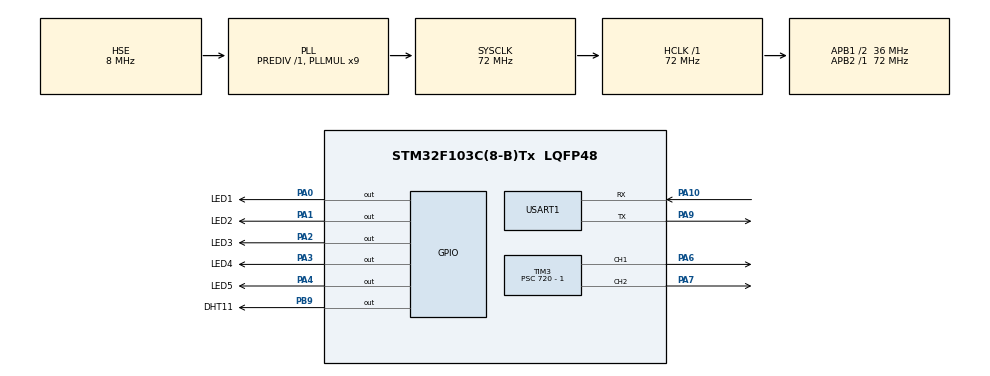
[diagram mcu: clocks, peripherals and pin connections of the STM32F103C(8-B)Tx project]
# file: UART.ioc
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Mcu.Family=STM32F1
Mcu.Name=STM32F103C(8-B)Tx
Mcu.Package=LQFP48
NVIC.PriorityGroup=NVIC_PRIORITYGROUP_4
NVIC.TIM1_UP_IRQn=true\:0\:0\:false\:false\:true\:true\:true\:true
NVIC.TIM2_IRQn=true\:0\:0\:false\:false\:true\:true\:true\:true
NVIC.TIM3_IRQn=true\:0\:0\:false\:false\:true\:true\:true\:true
NVIC.USART1_IRQn=true\:0\:0\:false\:false\:true\:true\:true\:true
PA0-WKUP.GPIO_Label=LED1
PA0-WKUP.Signal=GPIO_Output
PA1.GPIO_Label=LED2
PA1.Signal=GPIO_Output
PA10.Mode=Asynchronous
PA10.Signal=USART1_RX
PA13.Mode=Serial_Wire
PA13.Signal=SYS_JTMS-SWDIO
PA14.Mode=Serial_Wire
PA14.Signal=SYS_JTCK-SWCLK
PA2.GPIO_Label=LED3
PA2.Signal=GPIO_Output
PA3.GPIO_Label=LED4
PA3.Signal=GPIO_Output
PA4.GPIO_Label=LED5
PA4.Signal=GPIO_Output
PA6.Signal=S_TIM3_CH1
PA7.Signal=S_TIM3_CH2
PA9.Mode=Asynchronous
PA9.Signal=USART1_TX
PB9.GPIO_Label=DHT11
PB9.Signal=GPIO_Output
PD0-OSC_IN.Mode=HSE-External-Oscillator
PD0-OSC_IN.Signal=RCC_OSC_IN
PD1-OSC_OUT.Mode=HSE-External-Oscillator
PD1-OSC_OUT.Signal=RCC_OSC_OUT
ProjectManager.HeapSize=0x200
ProjectManager.StackSize=0x400
ProjectManager.TargetToolchain=STM32CubeIDE
RCC.ADCPresc=RCC_ADCPCLK2_DIV8
RCC.AHBFreq_Value=72000000
RCC.APB1CLKDivider=RCC_HCLK_DIV2
RCC.APB1Freq_Value=36000000
RCC.APB1TimFreq_Value=72000000
RCC.APB2Freq_Value=72000000
RCC.APB2TimFreq_Value=72000000
RCC.HCLKFreq_Value=72000000
RCC.PLLMUL=RCC_PLL_MUL9
RCC.PLLSourceVirtual=RCC_PLLSOURCE_HSE
RCC.SYSCLKFreq_VALUE=72000000
RCC.SYSCLKSource=RCC_SYSCLKSOURCE_PLLCLK
RCC.USBFreq_Value=72000000
SH.S_TIM3_CH1.0=TIM3_CH1,Output Compare1 CH1
SH.S_TIM3_CH2.0=TIM3_CH2,PWM Generation2 CH2
TIM1.Period=65535
TIM1.Prescaler=60000-1
TIM2.Period=65535
TIM2.Prescaler=72 - 1
TIM3.Channel-Output\ Compare1\ CH1=TIM_CHANNEL_1
TIM3.Channel-PWM\ Generation2\ CH2=TIM_CHANNEL_2
TIM3.OCMode_1=TIM_OCMODE_TOGGLE
TIM3.Period=10000 - 1
TIM3.Prescaler=720 - 1
USART1.VirtualMode=VM_ASYNC
VP_TIM1_VS_ClockSourceINT.Mode=Internal
VP_TIM2_VS_ClockSourceINT.Mode=Internal
VP_TIM3_VS_ClockSourceINT.Mode=Internal
board=custom

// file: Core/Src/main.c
/* USER CODE BEGIN Header */
/**
  ******************************************************************************
  * @file           : main.c
  * @brief          : Main program body
  ******************************************************************************
  * @attention
  *
  * Copyright (c) 2024 STMicroelectronics.
  * All rights reserved.
  *
  * This software is licensed under terms that can be found in the LICENSE file
  * in the root directory of this software component.
  * If no LICENSE file comes with this software, it is provided AS-IS.
  *
  ******************************************************************************
  */
/* USER CODE END Header */
#include "main.h"

/* USER CODE BEGIN Includes */
#include "stdio.h"
#include "stdlib.h"
#include "string.h"
#include "stdbool.h"
/* USER CODE END Includes */

/* USER CODE BEGIN PD */
#define DHT11_PORT GPIOB
#define DHT11_PIN  GPIO_PIN_9
#define LED_PORT   GPIOA
#define NUMBER_OF_LED 5
#define WAITING_20S 24000
#define WAITING_10S 12000
/* USER CODE END PD */

TIM_HandleTypeDef htim1;
TIM_HandleTypeDef htim2;
TIM_HandleTypeDef htim3;

UART_HandleTypeDef huart1;

/* USER CODE BEGIN PV */
int 					counter 					= 0;
int 					choice 						= 0;
int 					prev_choice 				= -1;
uint8_t 				counter_from_x[5]; // 0 --> 10,000
uint8_t 				duty_cycle;
uint8_t 				duty_cycle_num[20];
uint8_t 				msg1[1];
uint8_t 				nhap_lai[]					= "\nType again :"					;
uint8_t 				blinking_mode[40] 			= "\nBlinking Mode\nNhap counter : ";
uint8_t 				modulation_mode[20] 		= "\nModulation Mode"				;
uint8_t 				stop_modulation_mode[42]	= "\nStop Modulation Mode"			;
uint8_t 				stop_blinking_mode[42]  	= "\nStop Blinking Mode"			;
uint8_t 				be_on_operation[42]    		= "\nSelected Mode Is On Operation" ;
uint8_t 				no_mode_on_operation[42]	= "\nNo mode on operation"			;

// ##### AN's global vars #####
const uint8_t  			on_led_mode[]      		 	= "On led mode\n"					;
const uint8_t  			off_led_mode[]    		 	= "Off led mode\n"					;
uint8_t  				waiting_20s_mode[]      	= "Waiting 20s mode\n"				;
uint8_t  				waiting_10s_mode[]       	= "Waiting 10s mode\n"				;
uint8_t  				stop_waiting_mode[]      	= "Stop waiting mode\n"				;
uint8_t  				read_sensor_mode[]       	= "Read sensor mode\n"				;
uint8_t 				interrupt_the_mode[100]  	= "Stop running current mode\n"		;
uint8_t  				logg[200]                	= "\n1. On/off mode\n2. Waiting 10s mode\n3. Waiting 20s mode\
													   \n4. Reading sensor mode\n5. Blinking Mode\n6. Modulation Mode\n9. Stop";
///
uint32_t 				waiting;
uint32_t 				previous_tim           		= 0									;
uint32_t 				current_tim             	= 0									;
uint8_t 				led[5]                   	= {LED1_Pin,LED2_Pin,LED3_Pin,LED4_Pin,LED5_Pin};

// mode flag
bool 					modulation_flag				;
bool 					blinking_flag				;
bool 					choice_flag = true			;
bool 					stop_flag;

// ##### AN's mode flag #####
bool    				stop_flag					;
bool    				on_led_flag					;
bool    				waiting_flag				;

//sensor
uint8_t  				RHI, RHD, TCI, TCD, SUM;
uint32_t 				pMillis, cMillis;
float    				tCelsius                	= 0;
float    				tFahrenheit             	= 0;
float    				RH                      	= 0;
uint8_t  				TFI                     	= 0;
uint8_t  				TFD                     	= 0;
char     				strCopy[15];

/* USER CODE END PV */

void SystemClock_Config(void);
static void MX_GPIO_Init(void);
static void MX_USART1_UART_Init(void);
static void MX_TIM1_Init(void);
static void MX_TIM2_Init(void);
static void MX_TIM3_Init(void);
/* USER CODE BEGIN PFP */

int  				a2i(uint8_t*);
void 				StartModulationMode();
void 				StopModulationMode();
void 				StartBlinkingMode();
void 				StopBlinkingMode();
void 				ChooseModeHandler(); // choose mode while another mode's on operation
void 				ChooseMode(); // choose mode when no modes on operation (initially)
void 				ChangeMode();
void 				StopMode();

// ##### AN's function initialization #####
void 				microDelay (uint16_t);
uint8_t 			dht11Start ();
uint8_t 			dht11Read ();
void 				readRH();
void 				readTemp();
void 				waitingModeSet(uint32_t);
void 				stopWaitingMode();
void 				onLed();
void 				offLed();
void 				dht11Calculate();

/* USER CODE END PFP */

int main(void)
{

  /* MCU Configuration--------------------------------------------------------*/

  /* Reset of all peripherals, Initializes the Flash interface and the Systick. */
  HAL_Init();

  /* Configure the system clock */
  SystemClock_Config();

  /* Initialize all configured peripherals */
  MX_GPIO_Init();
  MX_USART1_UART_Init();
  MX_TIM1_Init();
  MX_TIM2_Init();
  MX_TIM3_Init();
  /* USER CODE BEGIN 2 */
  HAL_TIM_Base_Start(&htim2);
  HAL_TIM_Base_Start_IT(&htim1);
  /* USER CODE END 2 */

  /* Infinite loop */
  /* USER CODE BEGIN WHILE */
	while (1) {
		if(prev_choice != choice)
		{
			prev_choice = choice;
			if(modulation_flag || blinking_flag || waiting_flag || on_led_flag) ChooseModeHandler();
			else ChooseMode();
		}
		else
		{
			HAL_UART_Receive_IT(&huart1, msg1, sizeof(msg1));
		}

    /* USER CODE END WHILE */

	}
}

void SystemClock_Config(void)
{
  RCC_OscInitTypeDef RCC_OscInitStruct = {0};
  RCC_ClkInitTypeDef RCC_ClkInitStruct = {0};

  /** Initializes the RCC Oscillators according to the specified parameters
  * in the RCC_OscInitTypeDef structure.
  */
  RCC_OscInitStruct.OscillatorType = RCC_OSCILLATORTYPE_HSE;
  RCC_OscInitStruct.HSEState = RCC_HSE_ON;
  RCC_OscInitStruct.HSEPredivValue = RCC_HSE_PREDIV_DIV1;
  RCC_OscInitStruct.HSIState = RCC_HSI_ON;
  RCC_OscInitStruct.PLL.PLLState = RCC_PLL_ON;
  RCC_OscInitStruct.PLL.PLLSource = RCC_PLLSOURCE_HSE;
  RCC_OscInitStruct.PLL.PLLMUL = RCC_PLL_MUL9;
  if (HAL_RCC_OscConfig(&RCC_OscInitStruct) != HAL_OK)
  {
    Error_Handler();
  }

  /** Initializes the CPU, AHB and APB buses clocks
  */
  RCC_ClkInitStruct.ClockType = RCC_CLOCKTYPE_HCLK|RCC_CLOCKTYPE_SYSCLK
                              |RCC_CLOCKTYPE_PCLK1|RCC_CLOCKTYPE_PCLK2;
  RCC_ClkInitStruct.SYSCLKSource = RCC_SYSCLKSOURCE_PLLCLK;
  RCC_ClkInitStruct.AHBCLKDivider = RCC_SYSCLK_DIV1;
  RCC_ClkInitStruct.APB1CLKDivider = RCC_HCLK_DIV2;
  RCC_ClkInitStruct.APB2CLKDivider = RCC_HCLK_DIV1;

  if (HAL_RCC_ClockConfig(&RCC_ClkInitStruct, FLASH_LATENCY_2) != HAL_OK)
  {
    Error_Handler();
  }
}

static void MX_TIM1_Init(void)
{

  TIM_ClockConfigTypeDef sClockSourceConfig = {0};
  TIM_MasterConfigTypeDef sMasterConfig = {0};

  htim1.Instance = TIM1;
  htim1.Init.Prescaler = 60000-1;
  htim1.Init.CounterMode = TIM_COUNTERMODE_UP;
  htim1.Init.Period = 65535;
  htim1.Init.ClockDivision = TIM_CLOCKDIVISION_DIV1;
  htim1.Init.RepetitionCounter = 0;
  htim1.Init.AutoReloadPreload = TIM_AUTORELOAD_PRELOAD_DISABLE;
  if (HAL_TIM_Base_Init(&htim1) != HAL_OK)
  {
    Error_Handler();
  }
  sClockSourceConfig.ClockSource = TIM_CLOCKSOURCE_INTERNAL;
  if (HAL_TIM_ConfigClockSource(&htim1, &sClockSourceConfig) != HAL_OK)
  {
    Error_Handler();
  }
  sMasterConfig.MasterOutputTrigger = TIM_TRGO_RESET;
  sMasterConfig.MasterSlaveMode = TIM_MASTERSLAVEMODE_DISABLE;
  if (HAL_TIMEx_MasterConfigSynchronization(&htim1, &sMasterConfig) != HAL_OK)
  {
    Error_Handler();
  }

}

static void MX_TIM2_Init(void)
{

  TIM_ClockConfigTypeDef sClockSourceConfig = {0};
  TIM_MasterConfigTypeDef sMasterConfig = {0};

  htim2.Instance = TIM2;
  htim2.Init.Prescaler = 72 - 1;
  htim2.Init.CounterMode = TIM_COUNTERMODE_UP;
  htim2.Init.Period = 65535;
  htim2.Init.ClockDivision = TIM_CLOCKDIVISION_DIV1;
  htim2.Init.AutoReloadPreload = TIM_AUTORELOAD_PRELOAD_DISABLE;
  if (HAL_TIM_Base_Init(&htim2) != HAL_OK)
  {
    Error_Handler();
  }
  sClockSourceConfig.ClockSource = TIM_CLOCKSOURCE_INTERNAL;
  if (HAL_TIM_ConfigClockSource(&htim2, &sClockSourceConfig) != HAL_OK)
  {
    Error_Handler();
  }
  sMasterConfig.MasterOutputTrigger = TIM_TRGO_RESET;
  sMasterConfig.MasterSlaveMode = TIM_MASTERSLAVEMODE_DISABLE;
  if (HAL_TIMEx_MasterConfigSynchronization(&htim2, &sMasterConfig) != HAL_OK)
  {
    Error_Handler();
  }

}

static void MX_TIM3_Init(void)
{

  TIM_ClockConfigTypeDef sClockSourceConfig = {0};
  TIM_MasterConfigTypeDef sMasterConfig = {0};
  TIM_OC_InitTypeDef sConfigOC = {0};

  htim3.Instance = TIM3;
  htim3.Init.Prescaler = 720 - 1;
  htim3.Init.CounterMode = TIM_COUNTERMODE_UP;
  htim3.Init.Period = 10000 - 1;
  htim3.Init.ClockDivision = TIM_CLOCKDIVISION_DIV1;
  htim3.Init.AutoReloadPreload = TIM_AUTORELOAD_PRELOAD_DISABLE;
  if (HAL_TIM_Base_Init(&htim3) != HAL_OK)
  {
    Error_Handler();
  }
  sClockSourceConfig.ClockSource = TIM_CLOCKSOURCE_INTERNAL;
  if (HAL_TIM_ConfigClockSource(&htim3, &sClockSourceConfig) != HAL_OK)
  {
    Error_Handler();
  }
  if (HAL_TIM_OC_Init(&htim3) != HAL_OK)
  {
    Error_Handler();
  }
  if (HAL_TIM_PWM_Init(&htim3) != HAL_OK)
  {
    Error_Handler();
  }
  sMasterConfig.MasterOutputTrigger = TIM_TRGO_RESET;
  sMasterConfig.MasterSlaveMode = TIM_MASTERSLAVEMODE_DISABLE;
  if (HAL_TIMEx_MasterConfigSynchronization(&htim3, &sMasterConfig) != HAL_OK)
  {
    Error_Handler();
  }
  sConfigOC.OCMode = TIM_OCMODE_TOGGLE;
  sConfigOC.Pulse = 0;
  sConfigOC.OCPolarity = TIM_OCPOLARITY_HIGH;
  sConfigOC.OCFastMode = TIM_OCFAST_DISABLE;
  if (HAL_TIM_OC_ConfigChannel(&htim3, &sConfigOC, TIM_CHANNEL_1) != HAL_OK)
  {
    Error_Handler();
  }
  sConfigOC.OCMode = TIM_OCMODE_PWM1;
  if (HAL_TIM_PWM_ConfigChannel(&htim3, &sConfigOC, TIM_CHANNEL_2) != HAL_OK)
  {
    Error_Handler();
  }
  HAL_TIM_MspPostInit(&htim3);

}

static void MX_USART1_UART_Init(void)
{

  huart1.Instance = USART1;
  huart1.Init.BaudRate = 115200;
  huart1.Init.WordLength = UART_WORDLENGTH_8B;
  huart1.Init.StopBits = UART_STOPBITS_1;
  huart1.Init.Parity = UART_PARITY_NONE;
  huart1.Init.Mode = UART_MODE_TX_RX;
  huart1.Init.HwFlowCtl = UART_HWCONTROL_NONE;
  huart1.Init.OverSampling = UART_OVERSAMPLING_16;
  if (HAL_UART_Init(&huart1) != HAL_OK)
  {
    Error_Handler();
  }

}

static void MX_GPIO_Init(void)
{
  GPIO_InitTypeDef GPIO_InitStruct = {0};

  /* GPIO Ports Clock Enable */
  __HAL_RCC_GPIOD_CLK_ENABLE();
  __HAL_RCC_GPIOA_CLK_ENABLE();
  __HAL_RCC_GPIOB_CLK_ENABLE();

  /*Configure GPIO pin Output Level */
  HAL_GPIO_WritePin(GPIOA, LED1_Pin|LED2_Pin|LED3_Pin|LED4_Pin
                          |LED5_Pin, GPIO_PIN_RESET);

  /*Configure GPIO pin Output Level */
  HAL_GPIO_WritePin(DHT11_GPIO_Port, DHT11_Pin, GPIO_PIN_RESET);

  /*Configure GPIO pins : LED1_Pin LED2_Pin LED3_Pin LED4_Pin
                           LED5_Pin */
  GPIO_InitStruct.Pin = LED1_Pin|LED2_Pin|LED3_Pin|LED4_Pin
                          |LED5_Pin;
  GPIO_InitStruct.Mode = GPIO_MODE_OUTPUT_PP;
  GPIO_InitStruct.Pull = GPIO_NOPULL;
  GPIO_InitStruct.Speed = GPIO_SPEED_FREQ_LOW;
  HAL_GPIO_Init(GPIOA, &GPIO_InitStruct);

  /*Configure GPIO pin : DHT11_Pin */
  GPIO_InitStruct.Pin = DHT11_Pin;
  GPIO_InitStruct.Mode = GPIO_MODE_OUTPUT_PP;
  GPIO_InitStruct.Pull = GPIO_NOPULL;
  GPIO_InitStruct.Speed = GPIO_SPEED_FREQ_LOW;
  HAL_GPIO_Init(DHT11_GPIO_Port, &GPIO_InitStruct);

}

/* USER CODE BEGIN 4 */

// function definition
void StartModulationMode()
{
//	if(blinking_flag) return;
	HAL_UART_Transmit(&huart1, modulation_mode, sizeof(modulation_mode),HAL_MAX_DELAY);
	modulation_flag = true;
	HAL_TIM_PWM_Start_IT(&htim3, TIM_CHANNEL_2);
	while (choice == 6 && modulation_flag)
	{
		HAL_UART_Receive_IT(&huart1, msg1, sizeof(msg1));
		for (uint32_t i = 0; i < 10001 && choice == 6; i = i + 100)
		{
			__HAL_TIM_SET_COMPARE(&htim3, TIM_CHANNEL_2, i);
			HAL_Delay(100);
		}
	}
}

void StopModulationMode()
{
	if(!modulation_flag) return;
	HAL_UART_Transmit(&huart1, stop_modulation_mode, sizeof(stop_modulation_mode), HAL_MAX_DELAY);
	HAL_TIM_PWM_Stop_IT(&htim3, TIM_CHANNEL_2);
	modulation_flag = false;
}

void StartBlinkingMode()
{
	if(modulation_flag) return;
	HAL_UART_Transmit(&huart1, blinking_mode, sizeof(blinking_mode), HAL_MAX_DELAY);
	HAL_UART_Receive(&huart1, counter_from_x, sizeof(counter_from_x), HAL_MAX_DELAY);
	counter = a2i(counter_from_x);
	if(counter >= 10000) counter = 10000;
	else if(counter <= 0) counter = 0;
	blinking_flag = true;
	HAL_TIM_OC_Start_IT(&htim3, TIM_CHANNEL_1);
	__HAL_TIM_SET_COUNTER(&htim2, counter);
}

void StopBlinkingMode()
{
	if(!blinking_flag) return;
	HAL_UART_Transmit_IT(&huart1, stop_blinking_mode, sizeof(stop_blinking_mode));
	counter = 0;
	blinking_flag = false;
	HAL_TIM_OC_Stop_IT(&htim3, TIM_CHANNEL_1);
}

int a2i(uint8_t* txt)
{
    int sum, digit, i;
    sum = 0;
    for (i = 0; i < strlen(txt); i++) {
//        digit = txt[i] - 0x30;
        sum = (sum * 10) + (txt[i] - '0');
    }
    return sum;
}

void ChooseModeHandler()
{
	if(choice == 9)
	{
		StopMode();
		HAL_UART_Transmit(&huart1, logg, sizeof(logg), HAL_MAX_DELAY);
		HAL_UART_Receive_IT(&huart1, msg1, sizeof(msg1));
	}

	else ChangeMode();
}

void ChooseMode()
{
	switch(choice)
	{
		case 0:
			HAL_UART_Transmit_IT(&huart1, logg, sizeof(logg));
			break;
		case 1:
			onLed();
			break;
		case 2:
			HAL_UART_Transmit_IT(&huart1, waiting_20s_mode, sizeof(waiting_20s_mode));
			waitingModeSet(WAITING_20S);
			break;
		case 3:
			HAL_UART_Transmit_IT(&huart1, waiting_10s_mode, sizeof(waiting_10s_mode));
			waitingModeSet(WAITING_10S);
			break;
		case 4:
			HAL_UART_Transmit_IT(&huart1, read_sensor_mode, sizeof(read_sensor_mode));
			HAL_Delay(200);
			readRH();
			HAL_Delay(200);
			readTemp();
			break;
		case 5:
			StartBlinkingMode();
			break;
		case 6:
			StartModulationMode();
			break;
		case 9:
			HAL_UART_Transmit_IT(&huart1, no_mode_on_operation, sizeof(no_mode_on_operation));
		default:
			HAL_UART_Transmit_IT(&huart1, nhap_lai, sizeof(nhap_lai));
			choice = 0;
			break;
	}
	HAL_UART_Receive_IT(&huart1, msg1, sizeof(msg1));
}

void ChangeMode()
{
	StopMode();
	HAL_Delay(200);
	ChooseMode();
}

void StopMode()
{
	if(modulation_flag) StopModulationMode();
	else if(blinking_flag) StopBlinkingMode();
	else if (waiting_flag) stopWaitingMode();
	else offLed();
}

// ##### AN's function definition #####
void microDelay (uint16_t delay)
{
  __HAL_TIM_SET_COUNTER(&htim2, 0);
  while (__HAL_TIM_GET_COUNTER(&htim2) < delay);
}

uint8_t dht11Start (void)
{
  uint8_t Response = 0;
  GPIO_InitTypeDef GPIO_InitStructPrivate = {0};
  GPIO_InitStructPrivate.Pin = DHT11_PIN;
  GPIO_InitStructPrivate.Mode = GPIO_MODE_OUTPUT_PP;
  GPIO_InitStructPrivate.Speed = GPIO_SPEED_FREQ_LOW;
  GPIO_InitStructPrivate.Pull = GPIO_NOPULL;
  HAL_GPIO_Init(DHT11_PORT, &GPIO_InitStructPrivate); // set the pin as output
  HAL_GPIO_WritePin (DHT11_PORT, DHT11_PIN, 0);   // pull the pin low
  HAL_Delay(20);   // wait for 20ms
  HAL_GPIO_WritePin (DHT11_PORT, DHT11_PIN, 1);   // pull the pin high
  microDelay (30);   // wait for 30us
  GPIO_InitStructPrivate.Mode = GPIO_MODE_INPUT;
  GPIO_InitStructPrivate.Pull = GPIO_PULLUP;
  HAL_GPIO_Init(DHT11_PORT, &GPIO_InitStructPrivate); // set the pin as input
  microDelay (40);
  if (!(HAL_GPIO_ReadPin (DHT11_PORT, DHT11_PIN)))
  {
    microDelay (80);
    if ((HAL_GPIO_ReadPin (DHT11_PORT, DHT11_PIN))) Response = 1;
  }
  pMillis = HAL_GetTick();
  cMillis = HAL_GetTick();
  while ((HAL_GPIO_ReadPin (DHT11_PORT, DHT11_PIN)) && pMillis + 2 > cMillis)
  {
    cMillis = HAL_GetTick();
  }
  return Response;
}

uint8_t dht11Read (void)
{
  uint8_t a,b;
  for (a=0;a<8;a++)
  {
    pMillis = HAL_GetTick();
    cMillis = HAL_GetTick();
    while (!(HAL_GPIO_ReadPin (DHT11_PORT, DHT11_PIN)) && pMillis + 2 > cMillis)
    {  // wait for the pin to go high
      cMillis = HAL_GetTick();
    }
    microDelay (40);   // wait for 40 us
    if (!(HAL_GPIO_ReadPin (DHT11_PORT, DHT11_PIN)))   // if the pin is low
      b&= ~(1<<(7-a));
    else
      b|= (1<<(7-a));
    pMillis = HAL_GetTick();
    cMillis = HAL_GetTick();
    while ((HAL_GPIO_ReadPin (DHT11_PORT, DHT11_PIN)) && pMillis + 2 > cMillis)
    {  // wait for the pin to go low
      cMillis = HAL_GetTick();
    }
  }
  return b;
}

void readRH(void)
{
	char cmd[30];
	sprintf(cmd,"Rh: %2.f",RH);
	HAL_UART_Transmit(&huart1,(uint8_t*)cmd,(uint8_t)strlen(cmd),100);
	uint8_t pct[]="%\n";
	HAL_UART_Transmit(&huart1,(uint8_t*)pct,(uint8_t)sizeof(pct),100);
}

void readTemp(void)
{
	char cmd[30];
	sprintf(cmd,"Temp: %2.f C",tCelsius);
	HAL_UART_Transmit(&huart1,(uint8_t*)cmd,(uint8_t)strlen(cmd),100);
}

void dht11Calculate(void)
{
	if (dht11Start())
	{
		RHI = dht11Read(); // Relative humidity integral
		RHD = dht11Read(); // Relative humidity decimal
		TCI = dht11Read(); // Celsius integral
		TCD = dht11Read(); // Celsius decimal
		SUM = dht11Read(); // Check sum
		if (RHI + RHD + TCI + TCD == SUM)
		{
			// Can use RHI and TCI for any purposes if whole number only needed
			tCelsius = (float) TCI + (float) (TCD / 10.0);
			tFahrenheit = tCelsius * 9 / 5 + 32;
			RH = (float) RHI + (float) (RHD / 10.0);
		}
	}
}

void onLed(void)
{
	HAL_UART_Transmit_IT(&huart1, on_led_mode, sizeof(on_led_mode));
	for (int i = 0; i < NUMBER_OF_LED; i++)
	{
		HAL_GPIO_WritePin(LED_PORT, led[i], 1);
	}
	on_led_flag = true;
}

void offLed(void)
{
	HAL_UART_Transmit_IT(&huart1, off_led_mode, sizeof(off_led_mode));
	for (int i = 0; i < NUMBER_OF_LED; i++)
	{
		HAL_GPIO_WritePin(LED_PORT, led[i], 0);
	}
	on_led_flag=false;
}

void stopWaitingMode(void)
{
	HAL_TIM_Base_Stop_IT(&htim1);
	if (__HAL_TIM_GET_COUNTER(&htim1))
	__HAL_TIM_SET_COUNTER(&htim1, 0);
	waiting_flag = false;
}

void waitingModeSet(uint32_t time)
{
	stopWaitingMode();
	current_tim = HAL_GetTick();
	waiting_flag= true;
	__HAL_TIM_SET_AUTORELOAD(&htim1, time - 1);
	HAL_TIM_Base_Start_IT(&htim1);
}

// Callback functions
void HAL_TIM_PWM_PulseFinishedCallback(TIM_HandleTypeDef *htim)
{
	if(htim->Instance == TIM3 && htim->Channel == HAL_TIM_ACTIVE_CHANNEL_2)
	{
		duty_cycle = __HAL_TIM_GET_COMPARE(&htim3, TIM_CHANNEL_2) * 0.01;
		sprintf(duty_cycle_num , "Duty cycle : %d\n", duty_cycle);
		HAL_UART_Transmit_IT(&huart1, duty_cycle_num, sizeof(duty_cycle_num));
	}
}

void HAL_TIM_OC_DelayElapsedCallback(TIM_HandleTypeDef *htim)
{
	if(htim->Instance == TIM3 && htim->Channel == HAL_TIM_ACTIVE_CHANNEL_1)
	{
		__HAL_TIM_SET_COUNTER(&htim3, counter);
	}
}

void HAL_UART_RxCpltCallback(UART_HandleTypeDef *huart)
{
	if (huart->Instance == huart1.Instance)
	{
		choice = msg1[0] - '0';
		if (choice == 0 && choice == prev_choice)
		{
			HAL_UART_Transmit_IT(&huart1, logg, sizeof(logg));
			HAL_UART_Receive_IT(&huart1, msg1, sizeof(msg1));
		}
		else if (choice != 9 && choice == prev_choice)
		{
			HAL_UART_Transmit_IT(&huart1, be_on_operation,
					sizeof(be_on_operation));
			HAL_UART_Receive_IT(&huart1, msg1, sizeof(msg1));
		}
	}
}
// ##### AN's Callback functions #####
void HAL_TIM_PeriodElapsedCallback(TIM_HandleTypeDef *htim)
{
	previous_tim = current_tim;
	current_tim = HAL_GetTick();
	waiting=(current_tim-previous_tim);
	if (htim->Instance == htim1.Instance && waiting_flag)
	{
		char onled[60];
		uint8_t offled[] = "Led off\n";
		sprintf(onled,"Led on. Cycle: %lu ms\n",waiting);
		HAL_UART_Transmit(&huart1, (uint8_t*)onled, (uint8_t)strlen(onled),100);
		if (__HAL_TIM_GET_AUTORELOAD(&htim1) == WAITING_20S - 1)
		{
			for (int i = 0; i < NUMBER_OF_LED; i++)
			{
				HAL_GPIO_WritePin(LED_PORT, led[i], 1);
				for (int i = 0; i < 2000; i++)
				{
					for (int j = 0; j < 500; j++)
					{
					}
				}
			}
		}
		else if (__HAL_TIM_GET_AUTORELOAD(&htim1) == WAITING_10S - 1)
		{
			for (int i = NUMBER_OF_LED - 1; i >= 0; i--)
			{
				HAL_GPIO_WritePin(LED_PORT, led[i], 1);
				for (int i = 0; i < 2000; i++)
				{
					for (int j = 0; j < 500; j++);
				}
			}
		}

		for (int i = 0; i < NUMBER_OF_LED; i++)
		{
			HAL_GPIO_TogglePin(LED_PORT, led[i]);
		}
		HAL_UART_Transmit(&huart1, offled, sizeof(offled),100);
	}
}

/* USER CODE END 4 */

void Error_Handler(void)
{
  __disable_irq();
  while (1)
  {
  }
}
